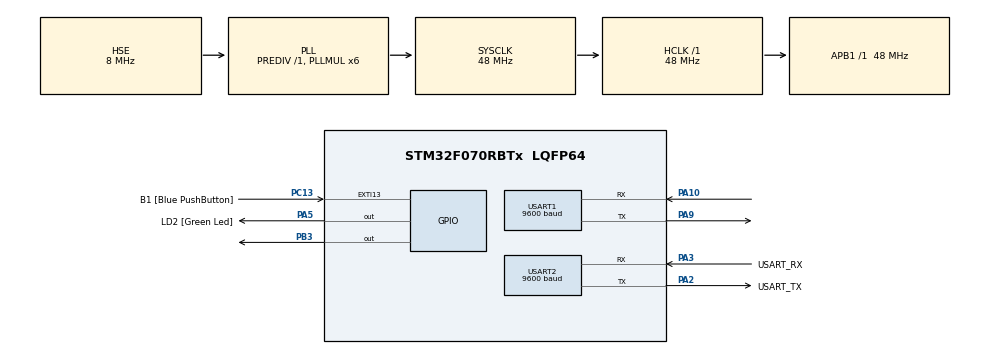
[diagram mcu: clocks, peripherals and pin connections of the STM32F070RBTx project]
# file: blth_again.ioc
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Mcu.Family=STM32F0
Mcu.Name=STM32F070RBTx
Mcu.Package=LQFP64
NVIC.USART1_IRQn=true\:0\:0\:false\:false\:true\:true\:true\:true
NVIC.USART2_IRQn=true\:0\:0\:false\:false\:true\:true\:true\:true
PA10.Mode=Asynchronous
PA10.Signal=USART1_RX
PA13.GPIO_Label=TMS
PA13.Mode=Serial_Wire
PA13.Signal=SYS_SWDIO
PA14.GPIO_Label=TCK
PA14.Mode=Serial_Wire
PA14.Signal=SYS_SWCLK
PA2.GPIO_Label=USART_TX
PA2.Mode=Asynchronous
PA2.Signal=USART2_TX
PA3.GPIO_Label=USART_RX
PA3.Mode=Asynchronous
PA3.Signal=USART2_RX
PA5.GPIO_Label=LD2 [Green Led]
PA5.Signal=GPIO_Output
PA9.Mode=Asynchronous
PA9.Signal=USART1_TX
PB3.Signal=GPIO_Output
PC13.GPIO_Label=B1 [Blue PushButton]
PC13.GPIO_ModeDefaultEXTI=GPIO_MODE_IT_FALLING
PC13.Signal=GPXTI13
PC14-OSC32_IN.GPIO_Label=RCC_OSC32_IN
PC14-OSC32_IN.Mode=LSE-External-Oscillator
PC14-OSC32_IN.Signal=RCC_OSC32_IN
PC15-OSC32_OUT.GPIO_Label=RCC_OSC32_OUT
PC15-OSC32_OUT.Mode=LSE-External-Oscillator
PC15-OSC32_OUT.Signal=RCC_OSC32_OUT
PF0-OSC_IN.GPIO_Label=RCC_OSC_IN
PF0-OSC_IN.Mode=HSE-External-Oscillator
PF0-OSC_IN.Signal=RCC_OSC_IN
PF1-OSC_OUT.GPIO_Label=RCC_OSC_OUT
PF1-OSC_OUT.Mode=HSE-External-Oscillator
PF1-OSC_OUT.Signal=RCC_OSC_OUT
ProjectManager.HeapSize=0x200
ProjectManager.StackSize=0x400
ProjectManager.TargetToolchain=STM32CubeIDE
RCC.AHBFreq_Value=48000000
RCC.APB1Freq_Value=48000000
RCC.APB1TimFreq_Value=48000000
RCC.HCLKFreq_Value=48000000
RCC.PLLMUL=RCC_PLL_MUL6
RCC.PLLSourceVirtual=RCC_PLLSOURCE_HSE
RCC.SYSCLKFreq_VALUE=48000000
RCC.SYSCLKSource=RCC_SYSCLKSOURCE_PLLCLK
USART1.BaudRate=9600
USART1.VirtualMode-Asynchronous=VM_ASYNC
USART2.BaudRate=9600
USART2.VirtualMode-Asynchronous=VM_ASYNC
board=NUCLEO-F070RB

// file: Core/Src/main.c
/* USER CODE BEGIN Header */
/**
  ******************************************************************************
  * @file           : main.c
  * @brief          : Main program body
  ******************************************************************************
  * @attention
  *
  * Copyright (c) 2023 STMicroelectronics.
  * All rights reserved.
  *
  * This software is licensed under terms that can be found in the LICENSE file
  * in the root directory of this software component.
  * If no LICENSE file comes with this software, it is provided AS-IS.
  *
  ******************************************************************************
  */
/* USER CODE END Header */
#include "main.h"

/* USER CODE BEGIN Includes */
#include "string.h"
#include <stdlib.h>
#include <stdio.h>
/* USER CODE END Includes */

/* USER CODE BEGIN PD */
#define EN        8
#define X_DIR     6
#define X_STP     3

/* USER CODE END PD */

UART_HandleTypeDef huart1;
UART_HandleTypeDef huart2;

/* USER CODE BEGIN PV */
uint8_t tx_buffer[8] = "hehe\n";
uint8_t rxData;
int delayTime = 2000; // velocidad
unsigned long K = 5446;

/* USER CODE END PV */

void SystemClock_Config(void);
static void MX_GPIO_Init(void);
static void MX_USART2_UART_Init(void);
static void MX_USART1_UART_Init(void);

/* USER CODE BEGIN 0 */

void blink(int num){
	while(num--){
		HAL_GPIO_TogglePin(LD2_GPIO_Port, LD2_Pin);
		HAL_Delay(1000);
	}
}

void dispense(float ml){
	unsigned long stepsml = ml*K;
	  HAL_Delay(100);
	  for (unsigned long i = 0; i < stepsml; i++) {
		  HAL_GPIO_WritePin(GPIOB, GPIO_PIN_3, SET);
		  HAL_Delay(delayTime);
		  HAL_GPIO_WritePin(GPIOB, GPIO_PIN_3, RESET);
		  HAL_Delay(delayTime);
	  }
}

/* USER CODE END 0 */

int main(void)
{

  /* MCU Configuration--------------------------------------------------------*/

  /* Reset of all peripherals, Initializes the Flash interface and the Systick. */
  HAL_Init();

  /* Configure the system clock */
  SystemClock_Config();

  /* Initialize all configured peripherals */
  MX_GPIO_Init();
  MX_USART2_UART_Init();
  MX_USART1_UART_Init();
  /* USER CODE BEGIN 2 */
  HAL_UART_Receive_IT(&huart1,&rxData,1); // Enabling interrupt receive

  /* USER CODE END 2 */

  /* Infinite loop */
  /* USER CODE BEGIN WHILE */
  HAL_UART_Transmit(&huart1, (uint8_t *)"Enter ML:- ", 11, HAL_MAX_DELAY);
//  HAL_UART_Transmit(&huart1, (uint8_t *)123, 3, 10);
  while (1)
  {
    /* USER CODE END WHILE */

    /* USER CODE BEGIN 3 */
//	  HAL_UART_Transmit(&huart1, (uint8_t *)"Here\n", 5, HAL_MAX_DELAY);
//	  HAL_Delay(1000);
  }
  /* USER CODE END 3 */
}

void SystemClock_Config(void)
{
  RCC_OscInitTypeDef RCC_OscInitStruct = {0};
  RCC_ClkInitTypeDef RCC_ClkInitStruct = {0};
  RCC_PeriphCLKInitTypeDef PeriphClkInit = {0};

  /** Initializes the RCC Oscillators according to the specified parameters
  * in the RCC_OscInitTypeDef structure.
  */
  RCC_OscInitStruct.OscillatorType = RCC_OSCILLATORTYPE_HSE;
  RCC_OscInitStruct.HSEState = RCC_HSE_ON;
  RCC_OscInitStruct.PLL.PLLState = RCC_PLL_ON;
  RCC_OscInitStruct.PLL.PLLSource = RCC_PLLSOURCE_HSE;
  RCC_OscInitStruct.PLL.PLLMUL = RCC_PLL_MUL6;
  RCC_OscInitStruct.PLL.PREDIV = RCC_PREDIV_DIV1;
  if (HAL_RCC_OscConfig(&RCC_OscInitStruct) != HAL_OK)
  {
    Error_Handler();
  }

  /** Initializes the CPU, AHB and APB buses clocks
  */
  RCC_ClkInitStruct.ClockType = RCC_CLOCKTYPE_HCLK|RCC_CLOCKTYPE_SYSCLK
                              |RCC_CLOCKTYPE_PCLK1;
  RCC_ClkInitStruct.SYSCLKSource = RCC_SYSCLKSOURCE_PLLCLK;
  RCC_ClkInitStruct.AHBCLKDivider = RCC_SYSCLK_DIV1;
  RCC_ClkInitStruct.APB1CLKDivider = RCC_HCLK_DIV1;

  if (HAL_RCC_ClockConfig(&RCC_ClkInitStruct, FLASH_LATENCY_1) != HAL_OK)
  {
    Error_Handler();
  }
  PeriphClkInit.PeriphClockSelection = RCC_PERIPHCLK_USART1;
  PeriphClkInit.Usart1ClockSelection = RCC_USART1CLKSOURCE_PCLK1;
  if (HAL_RCCEx_PeriphCLKConfig(&PeriphClkInit) != HAL_OK)
  {
    Error_Handler();
  }
}

static void MX_USART1_UART_Init(void)
{

  huart1.Instance = USART1;
  huart1.Init.BaudRate = 9600;
  huart1.Init.WordLength = UART_WORDLENGTH_8B;
  huart1.Init.StopBits = UART_STOPBITS_1;
  huart1.Init.Parity = UART_PARITY_NONE;
  huart1.Init.Mode = UART_MODE_TX_RX;
  huart1.Init.HwFlowCtl = UART_HWCONTROL_NONE;
  huart1.Init.OverSampling = UART_OVERSAMPLING_16;
  huart1.Init.OneBitSampling = UART_ONE_BIT_SAMPLE_DISABLE;
  huart1.AdvancedInit.AdvFeatureInit = UART_ADVFEATURE_NO_INIT;
  if (HAL_UART_Init(&huart1) != HAL_OK)
  {
    Error_Handler();
  }

}

static void MX_USART2_UART_Init(void)
{

  huart2.Instance = USART2;
  huart2.Init.BaudRate = 9600;
  huart2.Init.WordLength = UART_WORDLENGTH_8B;
  huart2.Init.StopBits = UART_STOPBITS_1;
  huart2.Init.Parity = UART_PARITY_NONE;
  huart2.Init.Mode = UART_MODE_TX_RX;
  huart2.Init.HwFlowCtl = UART_HWCONTROL_NONE;
  huart2.Init.OverSampling = UART_OVERSAMPLING_16;
  huart2.Init.OneBitSampling = UART_ONE_BIT_SAMPLE_DISABLE;
  huart2.AdvancedInit.AdvFeatureInit = UART_ADVFEATURE_NO_INIT;
  if (HAL_UART_Init(&huart2) != HAL_OK)
  {
    Error_Handler();
  }

}

static void MX_GPIO_Init(void)
{
  GPIO_InitTypeDef GPIO_InitStruct = {0};

  /* GPIO Ports Clock Enable */
  __HAL_RCC_GPIOC_CLK_ENABLE();
  __HAL_RCC_GPIOF_CLK_ENABLE();
  __HAL_RCC_GPIOA_CLK_ENABLE();
  __HAL_RCC_GPIOB_CLK_ENABLE();

  /*Configure GPIO pin Output Level */
  HAL_GPIO_WritePin(LD2_GPIO_Port, LD2_Pin, GPIO_PIN_RESET);

  /*Configure GPIO pin Output Level */
  HAL_GPIO_WritePin(GPIOB, GPIO_PIN_3, GPIO_PIN_RESET);

  /*Configure GPIO pin : B1_Pin */
  GPIO_InitStruct.Pin = B1_Pin;
  GPIO_InitStruct.Mode = GPIO_MODE_IT_FALLING;
  GPIO_InitStruct.Pull = GPIO_NOPULL;
  HAL_GPIO_Init(B1_GPIO_Port, &GPIO_InitStruct);

  /*Configure GPIO pin : LD2_Pin */
  GPIO_InitStruct.Pin = LD2_Pin;
  GPIO_InitStruct.Mode = GPIO_MODE_OUTPUT_PP;
  GPIO_InitStruct.Pull = GPIO_NOPULL;
  GPIO_InitStruct.Speed = GPIO_SPEED_FREQ_LOW;
  HAL_GPIO_Init(LD2_GPIO_Port, &GPIO_InitStruct);

  /*Configure GPIO pin : PB3 */
  GPIO_InitStruct.Pin = GPIO_PIN_3;
  GPIO_InitStruct.Mode = GPIO_MODE_OUTPUT_PP;
  GPIO_InitStruct.Pull = GPIO_NOPULL;
  GPIO_InitStruct.Speed = GPIO_SPEED_FREQ_LOW;
  HAL_GPIO_Init(GPIOB, &GPIO_InitStruct);

}

/* USER CODE BEGIN 4 */

float rxFloat = 0.0;
_Bool decimalPointEncountered = 0;

void HAL_UART_RxCpltCallback(UART_HandleTypeDef *huart)
{
    if (huart->Instance == USART1)
    {
        if (rxData != '\n') // Ascii value of 'N' is 78 (N for NO)
        {
            // Check if the received character is a digit or a decimal point
            if ((rxData >= '0' && rxData <= '9') || rxData == '.')
            {
                if (rxData == '.')
                {
                    if (!decimalPointEncountered)
                    {
                        decimalPointEncountered = 1;
                    }
                    else
                    {
                        // Handle the case where a second decimal point is encountered
                        // (you may want to set an error flag or take appropriate action)
                    }
                }
                else
                {
                    rxFloat = rxFloat * 10.0 + (rxData - '0');
                    if (decimalPointEncountered)
                    {
                        // Adjust for decimal places
                        rxFloat /= 10.0;
                    }
                }
            }

            // Your other code goes here
        }
        else // Ascii value of 'Y' is 89 (Y for YES)
        {
            char buffer[20];  // Adjust the buffer size as needed
            sprintf(buffer, "%.2f\n", rxFloat);  // %.2f limits the output to 2 decimal places

            // Transmit the float value
            HAL_UART_Transmit(&huart1, (uint8_t *)buffer, strlen(buffer), 10);

//            dispense(rxFloat);
            rxFloat = 0.0;  // Reset the float value
            decimalPointEncountered = 0;  // Reset the flag
        }

        HAL_UART_Receive_IT(&huart1, &rxData, 1); // Enable interrupt receive again
    }
}

/* USER CODE END 4 */

void Error_Handler(void)
{
  __disable_irq();
  while (1)
  {
  }
}
